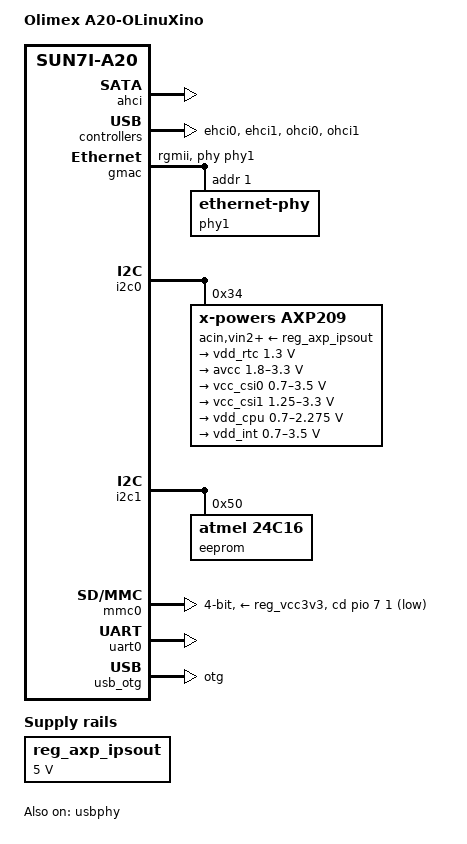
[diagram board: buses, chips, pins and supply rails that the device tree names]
// SPDX-License-Identifier: (GPL-2.0+ OR MIT)
/*
 * Device Tree Source for A20-SOM204-EVB Board
 *
 * Copyright (C) 2018 Olimex Ltd.
 *   Author: Stefan Mavrodiev <stefan@olimex.com>
 */

/dts-v1/;
#include "sun7i-a20.dtsi"
#include "sunxi-common-regulators.dtsi"

#include <dt-bindings/gpio/gpio.h>
#include <dt-bindings/interrupt-controller/irq.h>
#include <dt-bindings/pinctrl/sun4i-a10.h>

/ {
	model = "Olimex A20-OLinuXino";
	compatible = "olimex,a20-olinuxino", "allwinner,sun7i-a20";

	aliases {
		serial0 = &uart0;
	};

	chosen {
		stdout-path = "serial0:115200n8";
	};

	leds {
		compatible = "gpio-leds";

		/* Leds will be added dynamicly */

	};

	reg_axp_ipsout: axp_ipsout {
		compatible = "regulator-fixed";
		regulator-name = "axp-ipsout";
		regulator-min-microvolt = <5000000>;
		regulator-max-microvolt = <5000000>;
		regulator-always-on;
	};
};

&ahci {
	/* GPIO wil be fixed dynamicly */
	target-supply = <&reg_ahci_5v>;
	status = "okay";
};

&ehci0 {
	status = "okay";
};

&ehci1 {
	status = "okay";
};

&gmac {
	pinctrl-names = "default";
	pinctrl-0 = <&gmac_pins_rgmii_a>;
	phy = <&phy1>;
	phy-mode = "rgmii";
	status = "okay";

	/*
	 * This should be enabled only for SOM204
		snps,reset-gpio = <&pio 0 17 GPIO_ACTIVE_HIGH>;
		snps,reset-active-low;
		snps,reset-delays-us = <0 10000 1000000>;
	*/
	phy1: ethernet-phy@1 {
		/* REG wil be fixed dynamicly */
		reg = <1>;
	};
};

&i2c0 {
	pinctrl-names = "default";
	pinctrl-0 = <&i2c0_pins_a>;
	status = "okay";

	axp209: pmic@34 {
		compatible = "x-powers,axp209";
		reg = <0x34>;
		interrupt-parent = <&nmi_intc>;
		interrupts = <0 IRQ_TYPE_LEVEL_LOW>;

		interrupt-controller;
		#interrupt-cells = <1>;

		acin-supply = <&reg_axp_ipsout>;
		vin2-supply = <&reg_axp_ipsout>;
		vin3-supply = <&reg_axp_ipsout>;
		ldo24in-supply = <&reg_axp_ipsout>;
		ldo3in-supply = <&reg_axp_ipsout>;

		regulators {
			vdd_rtc: ldo1 {
				regulator-min-microvolt = <1300000>;
				regulator-max-microvolt = <1300000>;
				regulator-always-on;
			};

			avcc: ldo2 {
				regulator-min-microvolt = <1800000>;
				regulator-max-microvolt = <3300000>;
				regulator-always-on;
			};

			vcc_csi0: ldo3 {
				regulator-min-microvolt = <700000>;
				regulator-max-microvolt = <3500000>;
				regulator-always-on;
			};

			vcc_csi1: ldo4 {
				regulator-min-microvolt = <1250000>;
				regulator-max-microvolt = <3300000>;
				regulator-always-on;
			};

			vdd_cpu: dcdc2 {
				regulator-min-microvolt = <700000>;
				regulator-max-microvolt = <2275000>;
				regulator-always-on;
			};

			vdd_int: dcdc3 {
				regulator-min-microvolt = <700000>;
				regulator-max-microvolt = <3500000>;
				regulator-always-on;
			};
		};
	};
};

&i2c1 {
	pinctrl-names = "default";
	pinctrl-0 = <&i2c1_pins_a>;
	status = "okay";

	eeprom: eeprom@50 {
		compatible = "atmel,24c16";
		reg = <0x50>;
		pagesize = <16>;
	};
};

&mmc0 {
	pinctrl-names = "default";
	pinctrl-0 = <&mmc0_pins_a>;
	vmmc-supply = <&reg_vcc3v3>;
	bus-width = <4>;
	cd-gpios = <&pio 7 1 GPIO_ACTIVE_HIGH>; /* PH1 */
	cd-inverted;
	status = "okay";
};

&ohci0 {
	status = "okay";
};

&ohci1 {
	status = "okay";
};

&otg_sram {
	status = "okay";
};

&pio {
	ahci_pwr_pin_olinuxinolime: ahci_pwr_pin@1 {
		allwinner,pins = "PC3";
		allwinner,function = "gpio_out";
		allwinner,drive = <SUN4I_PINCTRL_10_MA>;
		allwinner,pull = <SUN4I_PINCTRL_NO_PULL>;
	};

	led_pins_olinuxinolime: led_pins@0 {
		allwinner,pins = "PH2";
		allwinner,function = "gpio_out";
		allwinner,drive = <SUN4I_PINCTRL_20_MA>;
		allwinner,pull = <SUN4I_PINCTRL_NO_PULL>;
	};

	usb0_id_detect_pin: usb0_id_detect_pin@0 {
		allwinner,pins = "PH4";
		allwinner,function = "gpio_in";
		allwinner,drive = <SUN4I_PINCTRL_10_MA>;
		allwinner,pull = <SUN4I_PINCTRL_PULL_UP>;
	};

	usb0_vbus_detect_pin: usb0_vbus_detect_pin@0 {
		allwinner,pins = "PH5";
		allwinner,function = "gpio_in";
		allwinner,drive = <SUN4I_PINCTRL_10_MA>;
		allwinner,pull = <SUN4I_PINCTRL_PULL_DOWN>;
	};

	usb0_vbus_pin_lime2: usb0_vbus_pin@0 {
		allwinner,pins = "PC17";
		allwinner,function = "gpio_out";
		allwinner,drive = <SUN4I_PINCTRL_10_MA>;
		allwinner,pull = <SUN4I_PINCTRL_NO_PULL>;
	};
};

&reg_ahci_5v {
	pinctrl-0 = <&ahci_pwr_pin_olinuxinolime>;
	gpio = <&pio 2 3 GPIO_ACTIVE_HIGH>;
	status = "okay";
};

&reg_usb0_vbus {
	pinctrl-0 = <&usb0_vbus_pin_lime2>;
	gpio = <&pio 2 17 GPIO_ACTIVE_HIGH>;
	status = "okay";
};

&reg_usb1_vbus {
	status = "okay";
};

&reg_usb2_vbus {
	status = "okay";
};

&uart0 {
	pinctrl-names = "default";
	pinctrl-0 = <&uart0_pins_a>;
	status = "okay";
};

&usb_otg {
	dr_mode = "otg";
	status = "okay";
};

&usbphy {
	pinctrl-names = "default";
	pinctrl-0 = <&usb0_id_detect_pin>, <&usb0_vbus_detect_pin>;
	usb0_id_det-gpio = <&pio 7 4 GPIO_ACTIVE_HIGH>; /* PH4 */
	usb0_vbus_det-gpio = <&pio 7 5 GPIO_ACTIVE_HIGH>; /* PH5 */
	usb0_vbus-supply = <&reg_usb0_vbus>;
	usb1_vbus-supply = <&reg_usb1_vbus>;
	usb2_vbus-supply = <&reg_usb2_vbus>;
	status = "okay";
};
